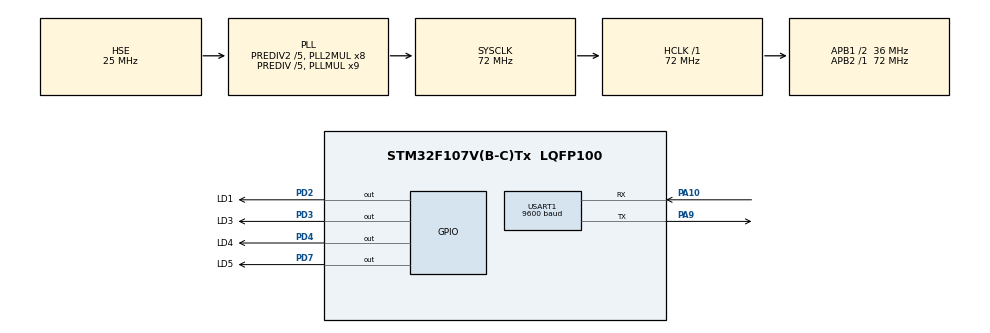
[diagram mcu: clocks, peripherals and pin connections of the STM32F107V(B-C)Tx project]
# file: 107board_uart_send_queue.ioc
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FREERTOS.Tasks01=defaultTask,0,128,StartDefaultTask,Default,NULL,Dynamic,NULL,NULL;myTask02uart,0,64,StartTask02uart,Default,NULL,Dynamic,NULL,NULL
FREERTOS.configMINIMAL_STACK_SIZE=64
Mcu.Family=STM32F1
Mcu.Name=STM32F107V(B-C)Tx
Mcu.Package=LQFP100
NVIC.PriorityGroup=NVIC_PRIORITYGROUP_4
NVIC.USART1_IRQn=true\:5\:0\:false\:false\:true\:true\:true
OSC_IN.Mode=HSE-External-Oscillator
OSC_IN.Signal=RCC_OSC_IN
OSC_OUT.Mode=HSE-External-Oscillator
OSC_OUT.Signal=RCC_OSC_OUT
PA10.Mode=Asynchronous
PA10.Signal=USART1_RX
PA9.Mode=Asynchronous
PA9.Signal=USART1_TX
PD2.GPIO_Label=LD1
PD2.Signal=GPIO_Output
PD3.GPIO_Label=LD3
PD3.Signal=GPIO_Output
PD4.GPIO_Label=LD4
PD4.Signal=GPIO_Output
PD7.GPIO_Label=LD5
PD7.Signal=GPIO_Output
ProjectManager.HeapSize=0x200
ProjectManager.StackSize=0x400
ProjectManager.TargetToolchain=MDK-ARM V5
RCC.AHBFreq_Value=72000000
RCC.APB1CLKDivider=RCC_HCLK_DIV2
RCC.APB1Freq_Value=36000000
RCC.APB1TimFreq_Value=72000000
RCC.APB2Freq_Value=72000000
RCC.APB2TimFreq_Value=72000000
RCC.HCLKFreq_Value=72000000
RCC.HSEDivPLL=RCC_HSE_PREDIV_DIV5
RCC.HSE_VALUE=25000000
RCC.PLLMUL=RCC_PLL_MUL9
RCC.PLLSourceVirtual=RCC_PLLSOURCE_HSE
RCC.Prediv1Source=RCC_PREDIV1_SOURCE_PLL2
RCC.Prediv2=RCC_HSE_PREDIV2_DIV5
RCC.SYSCLKFreq_VALUE=72000000
RCC.SYSCLKSource=RCC_SYSCLKSOURCE_PLLCLK
RCC.USBFreq_Value=48000000
USART1.BaudRate=9600
USART1.VirtualMode=VM_ASYNC
VP_FREERTOS_VS_ENABLE.Mode=Enabled
VP_SYS_VS_ND.Mode=No_Debug
board=custom

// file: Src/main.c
/**
  ******************************************************************************
  * @file           : main.c
  * @brief          : Main program body
  ******************************************************************************
  * This notice applies to any and all portions of this file
  * that are not between comment pairs USER CODE BEGIN and
  * USER CODE END. Other portions of this file, whether
  * inserted by the user or by software development tools
  * are owned by their respective copyright owners.
  *
  * Copyright (c) 2018 STMicroelectronics International N.V.
  * All rights reserved.
  *
  * Redistribution and use in source and binary forms, with or without
  * modification, are permitted, provided that the following conditions are met:
  *
  * 1. Redistribution of source code must retain the above copyright notice,
  *    this list of conditions and the following disclaimer.
  * 2. Redistributions in binary form must reproduce the above copyright notice,
  *    this list of conditions and the following disclaimer in the documentation
  *    and/or other materials provided with the distribution.
  * 3. Neither the name of STMicroelectronics nor the names of other
  *    contributors to this software may be used to endorse or promote products
  *    derived from this software without specific written permission.
  * 4. This software, including modifications and/or derivative works of this
  *    software, must execute solely and exclusively on microcontroller or
  *    microprocessor devices manufactured by or for STMicroelectronics.
  * 5. Redistribution and use of this software other than as permitted under
  *    this license is void and will automatically terminate your rights under
  *    this license.
  *
  * THIS SOFTWARE IS PROVIDED BY STMICROELECTRONICS AND CONTRIBUTORS "AS IS"
  * AND ANY EXPRESS, IMPLIED OR STATUTORY WARRANTIES, INCLUDING, BUT NOT
  * LIMITED TO, THE IMPLIED WARRANTIES OF MERCHANTABILITY, FITNESS FOR A
  * PARTICULAR PURPOSE AND NON-INFRINGEMENT OF THIRD PARTY INTELLECTUAL PROPERTY
  * RIGHTS ARE DISCLAIMED TO THE FULLEST EXTENT PERMITTED BY LAW. IN NO EVENT
  * SHALL STMICROELECTRONICS OR CONTRIBUTORS BE LIABLE FOR ANY DIRECT, INDIRECT,
  * INCIDENTAL, SPECIAL, EXEMPLARY, OR CONSEQUENTIAL DAMAGES (INCLUDING, BUT NOT
  * LIMITED TO, PROCUREMENT OF SUBSTITUTE GOODS OR SERVICES; LOSS OF USE, DATA,
  * OR PROFITS; OR BUSINESS INTERRUPTION) HOWEVER CAUSED AND ON ANY THEORY OF
  * LIABILITY, WHETHER IN CONTRACT, STRICT LIABILITY, OR TORT (INCLUDING
  * NEGLIGENCE OR OTHERWISE) ARISING IN ANY WAY OUT OF THE USE OF THIS SOFTWARE,
  * EVEN IF ADVISED OF THE POSSIBILITY OF SUCH DAMAGE.
  *
  ******************************************************************************
  */
#include "main.h"
#include "stm32f1xx_hal.h"
#include "cmsis_os.h"

UART_HandleTypeDef huart1;

osThreadId defaultTaskHandle;
osThreadId myTask02uartHandle;

/* USER CODE BEGIN PV */
/* Private variables ---------------------------------------------------------*/
////	//	下面开始是	与 KYW 模组 的 串口 通讯协议	KYW00x系列模组和终端设备通信接口说明书V2.5（修改稿1806291423改）.docx

void huart1_receive_message_Handle(void);
volatile uint8_t Rxbuff_UART[100];
volatile uint8_t Rxbuff_UART1[100];
volatile uint8_t Rx_count_UART1=0;
volatile uint8_t aaRxBuffer_UART1[1];
volatile uint8_t Rx_Num_UART1=0;
uint8_t power_on_FLAG=0;

volatile uint8_t RxBuffer_UART[1];
volatile uint8_t Rx_count_UART=0;
volatile uint16_t Rx_Num_UART=0;

//增加串口发送缓存部分
volatile uint8_t uart_send_buffer[500];
//uint8_t uart_send_buffer[800];
volatile uint8_t uart_send_buffer_data_size[5];
//volatile uint8_t uart_send_buffer_data_size[150];
volatile uint8_t uart_send_temp_buffer[100];
uint8_t uart_send_save_to_buffer(uint8_t *pData, uint16_t Size);
volatile uint8_t uart_send_buffer_available_number=5;		//	一开始5个都可用来存放，所以初始值为5
#define buffer_full_error 2
#define Size_error 3
#define save_OK 1
#define other_error 4
void load_from_buffer_and_send_uart_data_once(void);
/* USER CODE END PV */

void SystemClock_Config(void);
static void MX_GPIO_Init(void);
static void MX_USART1_UART_Init(void);
void StartDefaultTask(void const * argument);
void StartTask02uart(void const * argument);

/* USER CODE BEGIN PFP */
/* Private function prototypes -----------------------------------------------*/

/* USER CODE END PFP */

int main(void)
{

  /* MCU Configuration----------------------------------------------------------*/

  /* Reset of all peripherals, Initializes the Flash interface and the Systick. */
  HAL_Init();

  /* Configure the system clock */
  SystemClock_Config();

  /* Initialize all configured peripherals */
  MX_GPIO_Init();
  MX_USART1_UART_Init();

  /* Create the thread(s) */
  /* definition and creation of defaultTask */
  osThreadDef(defaultTask, StartDefaultTask, osPriorityNormal, 0, 128);
  defaultTaskHandle = osThreadCreate(osThread(defaultTask), NULL);

  /* definition and creation of myTask02uart */
  osThreadDef(myTask02uart, StartTask02uart, osPriorityNormal, 0, 64);
  myTask02uartHandle = osThreadCreate(osThread(myTask02uart), NULL);

  /* Start scheduler */
  osKernelStart();

  /* We should never get here as control is now taken by the scheduler */

  /* Infinite loop */
  while (1)
  {

  }

}

void SystemClock_Config(void)
{

  RCC_OscInitTypeDef RCC_OscInitStruct;
  RCC_ClkInitTypeDef RCC_ClkInitStruct;

    /**Initializes the CPU, AHB and APB busses clocks
    */
  RCC_OscInitStruct.OscillatorType = RCC_OSCILLATORTYPE_HSE;
  RCC_OscInitStruct.HSEState = RCC_HSE_ON;
  RCC_OscInitStruct.HSEPredivValue = RCC_HSE_PREDIV_DIV5;
  RCC_OscInitStruct.HSIState = RCC_HSI_ON;
  RCC_OscInitStruct.Prediv1Source = RCC_PREDIV1_SOURCE_PLL2;
  RCC_OscInitStruct.PLL.PLLState = RCC_PLL_ON;
  RCC_OscInitStruct.PLL.PLLSource = RCC_PLLSOURCE_HSE;
  RCC_OscInitStruct.PLL.PLLMUL = RCC_PLL_MUL9;
  RCC_OscInitStruct.PLL2.PLL2State = RCC_PLL2_ON;
  RCC_OscInitStruct.PLL2.PLL2MUL = RCC_PLL2_MUL8;
  RCC_OscInitStruct.PLL2.HSEPrediv2Value = RCC_HSE_PREDIV2_DIV5;
  if (HAL_RCC_OscConfig(&RCC_OscInitStruct) != HAL_OK)
  {
    _Error_Handler(__FILE__, __LINE__);
  }

    /**Initializes the CPU, AHB and APB busses clocks
    */
  RCC_ClkInitStruct.ClockType = RCC_CLOCKTYPE_HCLK|RCC_CLOCKTYPE_SYSCLK
                              |RCC_CLOCKTYPE_PCLK1|RCC_CLOCKTYPE_PCLK2;
  RCC_ClkInitStruct.SYSCLKSource = RCC_SYSCLKSOURCE_PLLCLK;
  RCC_ClkInitStruct.AHBCLKDivider = RCC_SYSCLK_DIV1;
  RCC_ClkInitStruct.APB1CLKDivider = RCC_HCLK_DIV2;
  RCC_ClkInitStruct.APB2CLKDivider = RCC_HCLK_DIV1;

  if (HAL_RCC_ClockConfig(&RCC_ClkInitStruct, FLASH_LATENCY_2) != HAL_OK)
  {
    _Error_Handler(__FILE__, __LINE__);
  }

    /**Configure the Systick interrupt time
    */
  HAL_SYSTICK_Config(HAL_RCC_GetHCLKFreq()/1000);

    /**Configure the Systick
    */
  HAL_SYSTICK_CLKSourceConfig(SYSTICK_CLKSOURCE_HCLK);

    /**Configure the Systick interrupt time
    */
  __HAL_RCC_PLLI2S_ENABLE();

  /* SysTick_IRQn interrupt configuration */
  HAL_NVIC_SetPriority(SysTick_IRQn, 15, 0);
}

/* USART1 init function */
static void MX_USART1_UART_Init(void)
{

  huart1.Instance = USART1;
  huart1.Init.BaudRate = 9600;
  huart1.Init.WordLength = UART_WORDLENGTH_8B;
  huart1.Init.StopBits = UART_STOPBITS_1;
  huart1.Init.Parity = UART_PARITY_NONE;
  huart1.Init.Mode = UART_MODE_TX_RX;
  huart1.Init.HwFlowCtl = UART_HWCONTROL_NONE;
  huart1.Init.OverSampling = UART_OVERSAMPLING_16;
  if (HAL_UART_Init(&huart1) != HAL_OK)
  {
    _Error_Handler(__FILE__, __LINE__);
  }

}

/** Configure pins as
        * Analog
        * Input
        * Output
        * EVENT_OUT
        * EXTI
*/
static void MX_GPIO_Init(void)
{

  GPIO_InitTypeDef GPIO_InitStruct;

  /* GPIO Ports Clock Enable */
  __HAL_RCC_GPIOA_CLK_ENABLE();
  __HAL_RCC_GPIOD_CLK_ENABLE();

  /*Configure GPIO pin Output Level */
  HAL_GPIO_WritePin(GPIOD, LD1_Pin|LD3_Pin|LD4_Pin|LD5_Pin, GPIO_PIN_RESET);

  /*Configure GPIO pins : LD1_Pin LD3_Pin LD4_Pin LD5_Pin */
  GPIO_InitStruct.Pin = LD1_Pin|LD3_Pin|LD4_Pin|LD5_Pin;
  GPIO_InitStruct.Mode = GPIO_MODE_OUTPUT_PP;
  GPIO_InitStruct.Pull = GPIO_NOPULL;
  GPIO_InitStruct.Speed = GPIO_SPEED_FREQ_LOW;
  HAL_GPIO_Init(GPIOD, &GPIO_InitStruct);

}

/* USER CODE BEGIN 4 */
/* USER CODE BEGIN 1 */
#ifdef __GNUC__
  /* With GCC/RAISONANCE, small printf (option LD Linker->Libraries->Small printf
     set to 'Yes') calls __io_putchar() */
  #define PUTCHAR_PROTOTYPE int __io_putchar(int ch)
#else
  #define PUTCHAR_PROTOTYPE int fputc(int ch, FILE *f)
#endif /* __GNUC__ */
/**
  * @brief  Retargets the C library printf function to the USART.
  * @param  None
  * @retval None
  */
PUTCHAR_PROTOTYPE
{
  /* Place your implementation of fputc here */
  /* e.g. write a character to the EVAL_COM1 and Loop until the end of transmission */
  HAL_UART_Transmit(&huart1, (uint8_t *)&ch, 1, 0xFFFF);

  return ch;
}
/* USER CODE END 1 */

//	下面开始是	与 KYW 模组 的 串口 通讯协议	KYW00x系列模组和终端设备通信接口说明书V2.5（修改稿1806291423改）.docx

//	现在换新架构
void HAL_UART_RxCpltCallback(UART_HandleTypeDef *huart)
{
	if(huart == &huart1)
	{
			Rxbuff_UART1[Rx_count_UART1] = aaRxBuffer_UART1[0];
			Rx_count_UART1++;
			//	增加一个判断条件：如果串口收到5个字节还没有检测出头码 AA，就将	Rx_count_UART1归零			这个待测试验证后用
//		UART_IT_IDLE
//			if((Rx_count_UART1==5)&&(Rxbuff_UART1[0]!=0xAA))
//			{
//				Rx_count_UART1=0;
//			}
			if((Rxbuff_UART1[0]==0xAA)&&(Rxbuff_UART1[1]==0x5A)&&(Rx_count_UART1==(12+Rxbuff_UART1[11])))
			{
				for(uint8_t i=0;i<Rx_count_UART1;i++)
				{
					Rxbuff_UART[i]=Rxbuff_UART1[i];
				}
				huart1_receive_message_Handle();
				Rx_count_UART1=0;
			}
			HAL_UART_Receive_IT(&huart1,(uint8_t*)aaRxBuffer_UART1,1);
	}
}

void huart1_receive_message_Handle(void)
{

	if((uart_send_buffer_available_number!=0)&&(uart_send_buffer_available_number<=5))
	{
		uart_send_save_to_buffer((uint8_t *)&Rxbuff_UART,Rx_count_UART1);
	}
}

uint8_t uart_send_save_to_buffer(uint8_t *pData, uint16_t Size)								//	改为递归或者循环方式，否则无法从5个扩展到100个
{
	//先判断发送缓存中的5个是否都已经用完，如果现在容量=5，则无法放入，返回出错值
//	如果5个都是空的，直接放[400]-[499]中
//	如果

	if(uart_send_buffer_available_number==0)
	{
		return buffer_full_error;
	}
	if(Size>100)
	{
		return Size_error;
	}
	if((uart_send_buffer_available_number>=1)&&(uart_send_buffer_available_number<=5))
	{

		for(uint8_t i=0;i<Size;i++)
		{
			uart_send_buffer[(i+(uart_send_buffer_available_number-1)*100)]=pData[i];
		}
		uart_send_buffer_available_number=(uart_send_buffer_available_number-1);
		uart_send_buffer_data_size[uart_send_buffer_available_number]=Size;

		return save_OK;

	}
	else
	{
		return other_error;
	}
}

void load_from_buffer_and_send_uart_data_once(void)			//	改为递归或者循环方式，否则无法从5个扩展到100个
{
	uint8_t buffer_member_number=5;

	for(uint8_t i=0;i<100;i++)
	{
		uart_send_temp_buffer[i]=uart_send_buffer[(buffer_member_number-1)*100+i];
	}
	if(uart_send_buffer_available_number<=(buffer_member_number-1))
	{
		HAL_UART_Transmit_IT(&huart1, (uint8_t *)&uart_send_temp_buffer,uart_send_buffer_data_size[(buffer_member_number-1)]);
	}

	//	发送后需要整理队列中的位置

	for(uint8_t j=0;j<(buffer_member_number-uart_send_buffer_available_number-1);j++)
	{
		for(uint8_t i=0;i<100;i++)
		{
			uart_send_buffer[i+(buffer_member_number-1-j)*100]=uart_send_buffer[i+(buffer_member_number-1-j-1)*100];
		}
		uart_send_buffer_data_size[buffer_member_number-1-j]=uart_send_buffer_data_size[buffer_member_number-1-j-1];
	}

//	}
	//	取走1个，需要清空前面的
	for(uint8_t i=0;i<100;i++)
	{
		uart_send_buffer[i+uart_send_buffer_available_number*100]=0;
	}
	uart_send_buffer_data_size[uart_send_buffer_available_number]=0;

	//	可用队列数量更新
	uart_send_buffer_available_number=uart_send_buffer_available_number+1;
}
/* USER CODE END 4 */

void StartDefaultTask(void const * argument)
{

  /* USER CODE BEGIN 5 */
	HAL_UART_Receive_IT(&huart1,(uint8_t*)aaRxBuffer_UART1,1);
  /* Infinite loop */
  for(;;)
  {
    osDelay(500);
		HAL_GPIO_TogglePin(LD1_GPIO_Port,LD1_Pin);
		HAL_GPIO_TogglePin(LD3_GPIO_Port,LD3_Pin);
		HAL_GPIO_TogglePin(LD4_GPIO_Port,LD4_Pin);
		HAL_GPIO_TogglePin(LD5_GPIO_Port,LD5_Pin);
  }
  /* USER CODE END 5 */
}

void StartTask02uart(void const * argument)
{
  /* USER CODE BEGIN StartTask02uart */
  /* Infinite loop */
  for(;;)
  {
//    osDelay(1);
    osDelay(600);

		if(uart_send_buffer_available_number!=5)
		{
			load_from_buffer_and_send_uart_data_once();
		}
  }
  /* USER CODE END StartTask02uart */
}

void _Error_Handler(char *file, int line)
{
  while(1)
  {
  }
}

/************************ (C) COPYRIGHT STMicroelectronics *****END OF FILE****/
